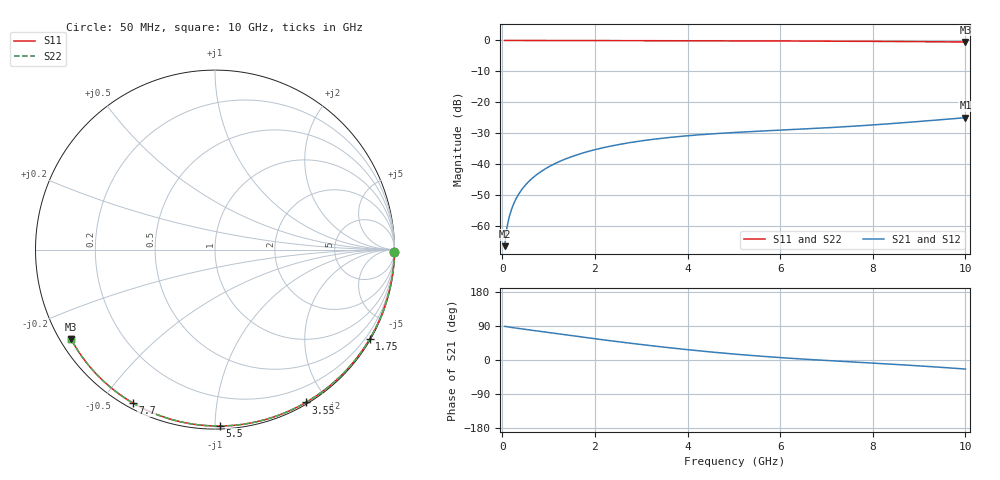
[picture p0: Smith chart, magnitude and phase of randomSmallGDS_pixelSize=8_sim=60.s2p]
! freq	dB(S11)	phase(S11)	dB(S12)	phase(S12)
!  dB(S21)	phase(S21)	dB(S22)	phase(S22)
!S-par simulation data
#  GHz  S  DB  R 50
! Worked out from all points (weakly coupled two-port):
!   200 points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, 50 MHz to 10 GHz, reference 50 ohm
!   highest |S21| = -25.02 dB at 10 GHz (marker M1); lowest = -66.6 dB at 50 MHz (marker M2)
!   lowest |S11| = -0.5 dB at 10 GHz (marker M3), VSWR 35.09, Z = 1.54 - j14.3 ohm
!   |S11| at or under -10 dB: nowhere
!   |S22| runs from -0.5 to 0.0 dB; largest |S21 - S12| = 0
!   S11 on the Smith chart (normalised r, x): 50 MHz: open; 1.75 GHz: 0.03, -3.73; 3.55 GHz: 0.02, -1.76; 5.5 GHz: 0.02, -1.03; 7.7 GHz: 0.02, -0.60; 10 GHz: 0.03, -0.29
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0.05  -0.00 -0.9  -66.63 88.9  -66.63 88.9  -0.00 -0.9
0.1  -0.00 -1.7  -60.63 87.8  -60.63 87.8  -0.00 -1.7
0.15  -0.00 -2.6  -57.14 86.8  -57.14 86.8  -0.00 -2.6
0.2  -0.00 -3.5  -54.67 85.9  -54.67 85.9  -0.00 -3.5
0.25  -0.00 -4.4  -52.76 85.0  -52.76 85.0  -0.00 -4.4
0.35  -0.00 -6.1  -49.88 83.3  -49.88 83.3  -0.00 -6.1
0.5  -0.01 -8.7  -46.83 80.8  -46.83 80.8  -0.01 -8.7
0.7  -0.01 -12.2  -43.97 77.5  -43.97 77.5  -0.01 -12.2
1  -0.02 -17.3  -40.96 72.5  -40.96 72.5  -0.02 -17.3
1.35  -0.03 -23.3  -38.48 66.7  -38.48 66.7  -0.03 -23.3
1.75  -0.04 -30.0  -36.40 60.1  -36.40 60.1  -0.04 -30.0
2.5  -0.06 -42.4  -33.75 48.3  -33.75 48.3  -0.06 -42.4
3.4  -0.08 -56.9  -31.77 35.2  -31.77 35.2  -0.08 -56.9
3.55  -0.08 -59.2  -31.52 33.1  -31.52 33.1  -0.08 -59.2
4.3  -0.10 -70.8  -30.51 23.6  -30.51 23.6  -0.10 -70.8
5.05  -0.13 -81.9  -29.78 15.2  -29.78 15.2  -0.13 -81.9
5.5  -0.15 -88.3  -29.42 10.8  -29.42 10.8  -0.15 -88.3
6.7  -0.21 -105.0  -28.53 0.9  -28.53 0.9  -0.21 -105.0
7.7  -0.27 -118.3  -27.66 -6.1  -27.66 -6.1  -0.27 -118.3
8.35  -0.32 -126.8  -26.99 -10.6  -26.99 -10.6  -0.32 -126.8
9.2  -0.40 -137.7  -26.01 -17.1  -26.01 -17.1  -0.40 -137.7
10  -0.50 -148.0  -25.02 -23.9  -25.02 -23.9  -0.50 -148.0
